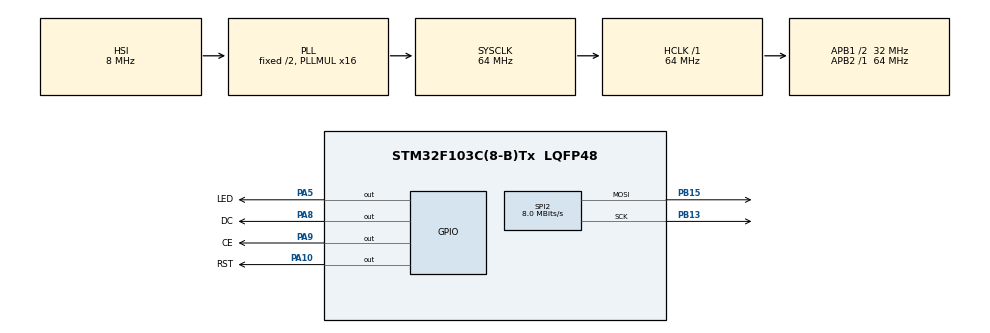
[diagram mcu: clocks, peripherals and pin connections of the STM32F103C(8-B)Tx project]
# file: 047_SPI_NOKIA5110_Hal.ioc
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Dma.Request0=SPI2_TX
Dma.SPI2_TX.0.Direction=DMA_MEMORY_TO_PERIPH
Dma.SPI2_TX.0.Instance=DMA1_Channel5
Dma.SPI2_TX.0.MemDataAlignment=DMA_MDATAALIGN_BYTE
Dma.SPI2_TX.0.MemInc=DMA_MINC_ENABLE
Dma.SPI2_TX.0.Mode=DMA_NORMAL
Dma.SPI2_TX.0.PeriphDataAlignment=DMA_PDATAALIGN_BYTE
Dma.SPI2_TX.0.PeriphInc=DMA_PINC_DISABLE
Dma.SPI2_TX.0.Priority=DMA_PRIORITY_LOW
Mcu.Family=STM32F1
Mcu.Name=STM32F103C(8-B)Tx
Mcu.Package=LQFP48
NVIC.DMA1_Channel5_IRQn=true\:0\:0\:false\:false\:true\:false\:true\:true
NVIC.PriorityGroup=NVIC_PRIORITYGROUP_4
PA10.GPIO_Label=RST
PA10.Signal=GPIO_Output
PA13.Mode=Serial_Wire
PA13.Signal=SYS_JTMS-SWDIO
PA14.Mode=Serial_Wire
PA14.Signal=SYS_JTCK-SWCLK
PA5.GPIO_Label=LED
PA5.Signal=GPIO_Output
PA8.GPIO_Label=DC
PA8.Signal=GPIO_Output
PA9.GPIO_Label=CE
PA9.Signal=GPIO_Output
PB13.Mode=TX_Only_Simplex_Unidirect_Master
PB13.Signal=SPI2_SCK
PB15.Mode=TX_Only_Simplex_Unidirect_Master
PB15.Signal=SPI2_MOSI
ProjectManager.HeapSize=0x200
ProjectManager.StackSize=0x400
ProjectManager.TargetToolchain=STM32CubeIDE
RCC.AHBFreq_Value=64000000
RCC.APB1CLKDivider=RCC_HCLK_DIV2
RCC.APB1Freq_Value=32000000
RCC.APB1TimFreq_Value=64000000
RCC.APB2Freq_Value=64000000
RCC.APB2TimFreq_Value=64000000
RCC.HCLKFreq_Value=64000000
RCC.PLLMUL=RCC_PLL_MUL16
RCC.SYSCLKFreq_VALUE=64000000
RCC.SYSCLKSource=RCC_SYSCLKSOURCE_PLLCLK
RCC.USBFreq_Value=64000000
SPI2.BaudRatePrescaler=SPI_BAUDRATEPRESCALER_4
SPI2.CalculateBaudRate=8.0 MBits/s
SPI2.Direction=SPI_DIRECTION_2LINES
SPI2.Mode=SPI_MODE_MASTER
SPI2.VirtualType=VM_MASTER
board=custom

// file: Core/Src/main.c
/* USER CODE BEGIN Header */
/**
  ******************************************************************************
  * @file           : main.c
  * @brief          : Main program body
  ******************************************************************************
  * @attention
  *
  * Copyright (c) 2024 STMicroelectronics.
  * All rights reserved.
  *
  * This software is licensed under terms that can be found in the LICENSE file
  * in the root directory of this software component.
  * If no LICENSE file comes with this software, it is provided AS-IS.
  *
  ******************************************************************************
  */
/* USER CODE END Header */
#include "main.h"

/* USER CODE BEGIN Includes */
#include "Nokia5110.h"
#include "math.h"
/* USER CODE END Includes */

SPI_HandleTypeDef hspi2;
DMA_HandleTypeDef hdma_spi2_tx;

void SystemClock_Config(void);
static void MX_GPIO_Init(void);
static void MX_DMA_Init(void);
static void MX_SPI2_Init(void);

int main(void)
{

  /* MCU Configuration--------------------------------------------------------*/

  /* Reset of all peripherals, Initializes the Flash interface and the Systick. */
  HAL_Init();

  /* Configure the system clock */
  SystemClock_Config();

  /* Initialize all configured peripherals */
  MX_GPIO_Init();
  MX_DMA_Init();
  MX_SPI2_Init();
  /* USER CODE BEGIN 2 */
  Nokia_5110_Init();

  /* USER CODE END 2 */

  /* Infinite loop */
  while (1)
  {

    /* USER CODE BEGIN 3 */
	  uint8_t j = 0;
	  uint8_t k = 0;

	  for( k=0, j=0; (k < 84 || j < 48);k++,j++){
		  NOkia5110_SetPixel(0, j, 1);
		  NOkia5110_SetPixel(k, 0, 1);
		  NOkia5110_SetPixel(83, (47-j), 1);
		  NOkia5110_SetPixel((83 -k) , 47, 1);
		  HAL_Delay(50);
		  Nokia_5110_Update();
		  }

	  // Orta nokta (x,y)
	  int x = 42;
	  int y = 24;

	  // Çemberin yarıçapı
	  int r = 15;

	  // Çemberin çevresini tarayarak pikselleri belirleme
	  for (int p = 0; p < 360; p++) {

		  HAL_Delay(50);
		  uint8_t x1 = x + r * cos(p * 3.14159 / 180);
		  uint8_t y1 = y + r * sin(p * 3.14159 / 180);
		  NOkia5110_SetPixel(x1, y1, 1);
		  Nokia_5110_Update();
	  }
	  // Gözler
	  for (int i = -1; i <= 1; i++) {
	    for (int j = -1; j <= 1; j++) {
	      NOkia5110_SetPixel(x - r/2 + i, y - r/4 + j, 1);
	      NOkia5110_SetPixel(x + r/2 + i, y - r/4 + j, 1);
	    }
	  }

	  // Ağız
	  for (int i = 0; i <= 3; i++) {
	    NOkia5110_SetPixel(x + i, y + r/4, 1);
	  }

  }
  /* USER CODE END 3 */
}

void SystemClock_Config(void)
{
  RCC_OscInitTypeDef RCC_OscInitStruct = {0};
  RCC_ClkInitTypeDef RCC_ClkInitStruct = {0};

  /** Initializes the RCC Oscillators according to the specified parameters
  * in the RCC_OscInitTypeDef structure.
  */
  RCC_OscInitStruct.OscillatorType = RCC_OSCILLATORTYPE_HSI;
  RCC_OscInitStruct.HSIState = RCC_HSI_ON;
  RCC_OscInitStruct.HSICalibrationValue = RCC_HSICALIBRATION_DEFAULT;
  RCC_OscInitStruct.PLL.PLLState = RCC_PLL_ON;
  RCC_OscInitStruct.PLL.PLLSource = RCC_PLLSOURCE_HSI_DIV2;
  RCC_OscInitStruct.PLL.PLLMUL = RCC_PLL_MUL16;
  if (HAL_RCC_OscConfig(&RCC_OscInitStruct) != HAL_OK)
  {
    Error_Handler();
  }

  /** Initializes the CPU, AHB and APB buses clocks
  */
  RCC_ClkInitStruct.ClockType = RCC_CLOCKTYPE_HCLK|RCC_CLOCKTYPE_SYSCLK
                              |RCC_CLOCKTYPE_PCLK1|RCC_CLOCKTYPE_PCLK2;
  RCC_ClkInitStruct.SYSCLKSource = RCC_SYSCLKSOURCE_PLLCLK;
  RCC_ClkInitStruct.AHBCLKDivider = RCC_SYSCLK_DIV1;
  RCC_ClkInitStruct.APB1CLKDivider = RCC_HCLK_DIV2;
  RCC_ClkInitStruct.APB2CLKDivider = RCC_HCLK_DIV1;

  if (HAL_RCC_ClockConfig(&RCC_ClkInitStruct, FLASH_LATENCY_2) != HAL_OK)
  {
    Error_Handler();
  }
}

static void MX_SPI2_Init(void)
{

  /* SPI2 parameter configuration*/
  hspi2.Instance = SPI2;
  hspi2.Init.Mode = SPI_MODE_MASTER;
  hspi2.Init.Direction = SPI_DIRECTION_2LINES;
  hspi2.Init.DataSize = SPI_DATASIZE_8BIT;
  hspi2.Init.CLKPolarity = SPI_POLARITY_LOW;
  hspi2.Init.CLKPhase = SPI_PHASE_1EDGE;
  hspi2.Init.NSS = SPI_NSS_SOFT;
  hspi2.Init.BaudRatePrescaler = SPI_BAUDRATEPRESCALER_4;
  hspi2.Init.FirstBit = SPI_FIRSTBIT_MSB;
  hspi2.Init.TIMode = SPI_TIMODE_DISABLE;
  hspi2.Init.CRCCalculation = SPI_CRCCALCULATION_DISABLE;
  hspi2.Init.CRCPolynomial = 10;
  if (HAL_SPI_Init(&hspi2) != HAL_OK)
  {
    Error_Handler();
  }

}

static void MX_DMA_Init(void)
{

  /* DMA controller clock enable */
  __HAL_RCC_DMA1_CLK_ENABLE();

  /* DMA interrupt init */
  /* DMA1_Channel5_IRQn interrupt configuration */
  HAL_NVIC_SetPriority(DMA1_Channel5_IRQn, 0, 0);
  HAL_NVIC_EnableIRQ(DMA1_Channel5_IRQn);

}

static void MX_GPIO_Init(void)
{
  GPIO_InitTypeDef GPIO_InitStruct = {0};

  /* GPIO Ports Clock Enable */
  __HAL_RCC_GPIOA_CLK_ENABLE();
  __HAL_RCC_GPIOB_CLK_ENABLE();

  /*Configure GPIO pin Output Level */
  HAL_GPIO_WritePin(GPIOA, LED_Pin|DC_Pin|CE_Pin|RST_Pin, GPIO_PIN_RESET);

  /*Configure GPIO pins : LED_Pin DC_Pin CE_Pin RST_Pin */
  GPIO_InitStruct.Pin = LED_Pin|DC_Pin|CE_Pin|RST_Pin;
  GPIO_InitStruct.Mode = GPIO_MODE_OUTPUT_PP;
  GPIO_InitStruct.Pull = GPIO_NOPULL;
  GPIO_InitStruct.Speed = GPIO_SPEED_FREQ_LOW;
  HAL_GPIO_Init(GPIOA, &GPIO_InitStruct);

}

void Error_Handler(void)
{
  __disable_irq();
  while (1)
  {
  }
}
